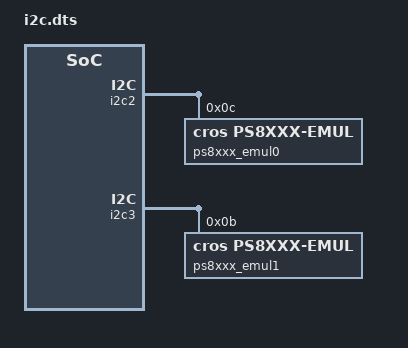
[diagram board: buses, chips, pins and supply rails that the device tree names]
/* Copyright 2023 The ChromiumOS Authors
 * Use of this source code is governed by a BSD-style license that can be
 * found in the LICENSE file.
 */

#include <dt-bindings/usb_pd_tcpm.h>

/ {
	usbc {
		port0@0 {
			compatible = "named-usbc-port";
			tcpc = <&ps8xxx_emul0>;
		};
		port1@1 {
			compatible = "named-usbc-port";
			tcpc = <&ps8xxx_emul1>;
		};
	};
};

&i2c2 {
	status="okay";

	ps8xxx_emul0: ps8xxx_emul@c {
		compatible = "cros,ps8xxx-emul";
		reg = <0xc>;
		p0-i2c-addr = <0x10>;
		p1-i2c-addr = <0x11>;
		gpio-i2c-addr = <0x1b>;
	};
};

&i2c3 {
	status="okay";

	/delete-node/ ps8xxx_emul@b;

	ps8xxx_emul1: ps8xxx_emul@b {
		compatible = "cros,ps8xxx-emul";
		reg = <0xb>;
		p0-i2c-addr = <0x8>;
		p1-i2c-addr = <0x9>;
		gpio-i2c-addr = <0x1a>;
	};

};
